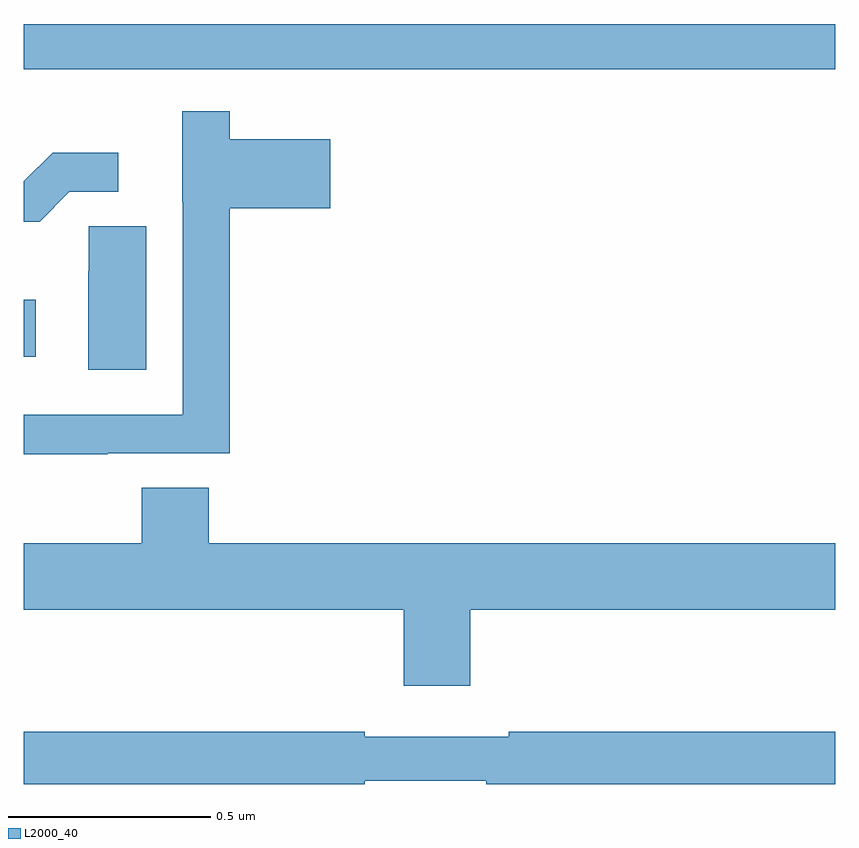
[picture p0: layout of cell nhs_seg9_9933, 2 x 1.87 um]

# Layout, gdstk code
import gdstk
lib = gdstk.Library(unit=1e-6, precision=1e-09)
def R(c, l, rs):  # rectangles x0, y0, x1, y1
    for r in rs: c.add(gdstk.rectangle(r[:2], r[2:], *l))
def P(c, l, *ps):  # polygons
    for p in ps: c.add(gdstk.Polygon(p, *l))
L2000_40 = (2000, 40)

nhs_seg9_9933 = lib.new_cell('nhs_seg9_9933')
R(nhs_seg9_9933, L2000_40, [(236,1227.68,236.029,1227.82), (236,1228.388,238,1228.5)])
P(nhs_seg9_9933, L2000_40, [(236.207,1227.441),(236.507,1227.441),(236.507,1228.046),(236.755,1228.046),(236.755,1228.216),(236.507,1228.216),(236.507,1228.285),(236.39,1228.285),(236.39,1228.062),(236.391,1228.062),(236.391,1227.537),(236,1227.537),(236,1227.439),(236.207,1227.439)],
  [(236.112,1228.086),(236.233,1228.086),(236.233,1228.183),(236.071,1228.183),(236,1228.112),(236,1228.013),(236.039,1228.013)],
  [(236.302,1228.001),(236.16,1228.001),(236.16,1227.89),(236.159,1227.89),(236.159,1227.648),(236.302,1227.648)],
  [(237.1,1227.056),(238,1227.056),(238,1227.22),(236.456,1227.22),(236.456,1227.356),(236.291,1227.356),(236.291,1227.22),(236,1227.22),(236,1227.056),(236.936,1227.056),(236.936,1226.868),(237.1,1226.868)],
  [(236.84,1226.634),(237.14,1226.634),(237.14,1226.626),(238,1226.626),(238,1226.755),(237.196,1226.755),(237.196,1226.742),(236.84,1226.742),(236.84,1226.755),(236,1226.755),(236,1226.626),(236.84,1226.626)])

lib.write_gds('nhs_seg9_9933.gds')
